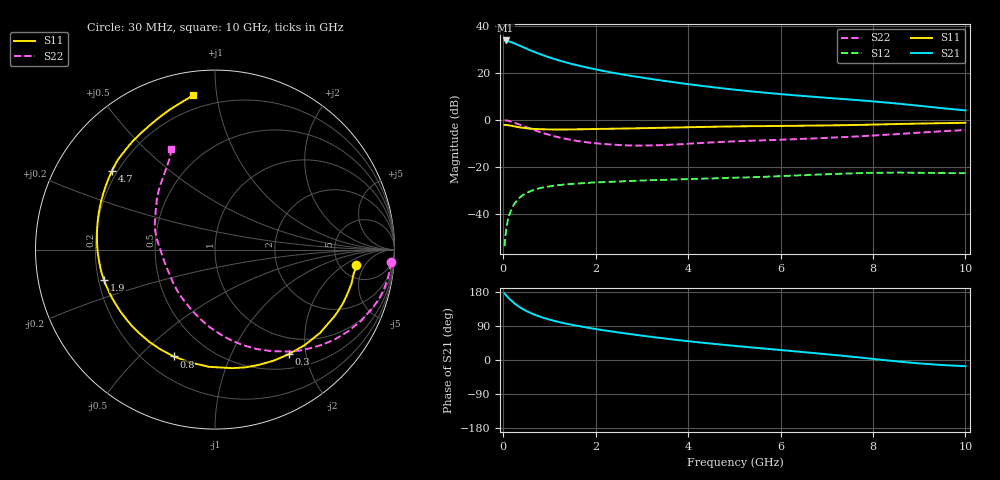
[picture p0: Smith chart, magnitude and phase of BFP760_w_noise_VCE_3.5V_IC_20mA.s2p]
! Infineon Technologies  Discrete & RF Semiconductors
! BFP760
! VCE =  3.5 V,  IC =  20 mA
! Common Emitter S-Parameters:  Nov 2012
# GHz  S  MA  R  50
!  f  S11  S21  S12  S22
! GHz  MAG  ANG  MAG  ANG  MAG  ANG  MAG  ANG
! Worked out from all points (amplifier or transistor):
!   99 points, 30 MHz to 10 GHz, reference 50 ohm
!   highest |S21| = 33.7 dB at 50 MHz (marker M1)
!   |S21| within 3 dB of that: start of sweep to 445.4 MHz
!   unconditionally stable (mu >= 1): 4.688 GHz to end of sweep
!   at 350 MHz: K = 0.22, MSG = 32.3 dB, |S12| = -33.1 dB
!   at 3.5 GHz: K = 0.86, MSG = 21.0 dB, |S12| = -25.4 dB
!   at 10 GHz: K = 1.09, MAG = 11.4 dB, |S12| = -22.5 dB
!   lowest NFmin = 0.63 dB at 900 MHz
!   S11 on the Smith chart (normalised r, x): 30 MHz: 7.07, -3.15; 300 MHz: 0.72, -1.70; 800 MHz: 0.32, -0.64; 1.9 GHz: 0.22, -0.13; 4.7 GHz: 0.18, +0.33; 10 GHz: 0.12, +0.86
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0.03  0.7895 -6.1  48.46 175.5  0.0021 75.2  0.9834 -4.1
0.05  0.7837 -9.9  48.69 172.3  0.0035 87.4  0.9792 -6.6
0.1  0.7758 -20.0  47.35 165.8  0.0078 79.3  0.9649 -13.6
0.15  0.7617 -29.4  45.7 159.7  0.011 73.9  0.9374 -20.0
0.2  0.7469 -38.4  43.79 154.1  0.014 70.2  0.9057 -26.0
0.25  0.73 -46.8  41.87 148.9  0.0172 65.3  0.87 -31.6
0.3  0.7134 -54.7  39.88 144.2  0.0195 62.8  0.8353 -36.7
0.4  0.6871 -69.2  36.12 136.1  0.0245 58.0  0.7652 -45.8
0.5  0.6676 -81.7  32.69 129.4  0.0281 52.9  0.702 -54.0
0.6  0.6539 -92.9  29.74 123.6  0.0312 48.7  0.6463 -61.1
0.8  0.6382 -111.2  24.92 114.2  0.0359 42.3  0.5537 -73.8
1  0.631 -125.6  21.27 106.7  0.039 37.5  0.4824 -84.9
1.2  0.6288 -137.2  18.45 100.4  0.0414 34.1  0.4289 -94.7
1.7  0.6356 -158.4  13.74 88.1  0.0454 29.0  0.3463 -115.6
1.9  0.6411 -164.9  12.43 83.9  0.0468 27.7  0.3274 -123.3
2.6  0.6582 176.8  9.188 70.9  0.05 24.7  0.2914 -147.1
3.4  0.6816 160.9  6.937 58.1  0.0534 22.7  0.2925 -170.5
4.7  0.7224 142.6  4.75 40.9  0.0583 21.0  0.341 165.4
5.1  0.7328 138.8  4.304 36.2  0.0599 20.7  0.3549 160.7
6.7  0.7606 126.2  3.111 18.6  0.0688 18.5  0.4053 144.1
8.5  0.8194 108.0  2.244 -3.4  0.0764 9.8  0.4997 125.1
10  0.8698 98.1  1.597 -16.4  0.0746 6.0  0.6115 113.7
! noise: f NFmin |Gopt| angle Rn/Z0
0.9  0.63  0.08  43  0.09
1.8  0.67  0.06  168  0.08
2.4  0.72  0.08  -178  0.08
3.5  0.83  0.12  -153  0.09
5.5  1.06  0.26  -120  0.11
8  1.37  0.38  -84  0.32
